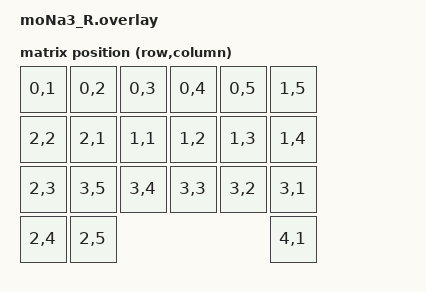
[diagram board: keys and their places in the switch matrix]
#include "moNa3.dtsi"

&kscan0 {
        compatible = "zmk,kscan-gpio-charlieplex";
        wakeup-source;

        interrupt-gpios = <&xiao_d 2 (GPIO_ACTIVE_HIGH | GPIO_PULL_DOWN) >;
        gpios
          = <&xiao_d 3 GPIO_ACTIVE_HIGH>
          , <&xiao_d 6 GPIO_ACTIVE_HIGH>
          , <&xiao_d 10 GPIO_ACTIVE_HIGH>
          , <&xiao_d 9 GPIO_ACTIVE_HIGH>
          , <&xiao_d 8 GPIO_ACTIVE_HIGH>
          , <&xiao_d 7 GPIO_ACTIVE_HIGH>
          ; // addressable space is 5x5, (minus paired values)
};

&default_transform {
        compatible = "zmk,matrix-transform";
        rows = <4>;
        columns = <5>;
        col-offset = <1>;

        map = <
            RC(0,1) RC(0,2) RC(0,3) RC(0,4) RC(0,5) RC(1,5) 
            RC(2,2) RC(2,1) RC(1,1) RC(1,2) RC(1,3) RC(1,4) 
            RC(2,3) RC(3,5) RC(3,4) RC(3,3) RC(3,2) RC(3,1) 
        RC(2,4) RC(2,5)                             RC(4,1)

        >;
    };

/ {
    trackball_listener {
        compatible = "zmk,input-listener";
        device = <&trackball>;

    };
};

&pinctrl {
    spi0_default: spi0_default {
        group1 {
            psels = <NRF_PSEL(SPIM_SCK, 0, 5)>,
                <NRF_PSEL(SPIM_MOSI, 0, 4)>,
                <NRF_PSEL(SPIM_MISO, 0, 4)>;
        };
    };

    spi0_sleep: spi0_sleep {
        group1 {
            psels = <NRF_PSEL(SPIM_SCK, 0, 5)>,
                <NRF_PSEL(SPIM_MOSI, 0, 4)>,
                <NRF_PSEL(SPIM_MISO, 0, 4)>;
            low-power-enable;
        };
    };
};

&spi0 {
    status = "okay";
    compatible = "nordic,nrf-spim";
    pinctrl-0 = <&spi0_default>;
    pinctrl-1 = <&spi0_sleep>;
    pinctrl-names = "default", "sleep";
    cs-gpios = <&gpio0 9 GPIO_ACTIVE_LOW>;

    trackball: trackball@0 {
        status = "okay";
        compatible = "pixart,pmw3610";
        reg = <0>;
        spi-max-frequency = <2000000>;
        irq-gpios = <&gpio0 2 (GPIO_ACTIVE_LOW | GPIO_PULL_UP)>;
        automouse-layer = <6>;
        scroll-layers = <5>;
    };
};

&right_encoder {
    status = "okay";
};
